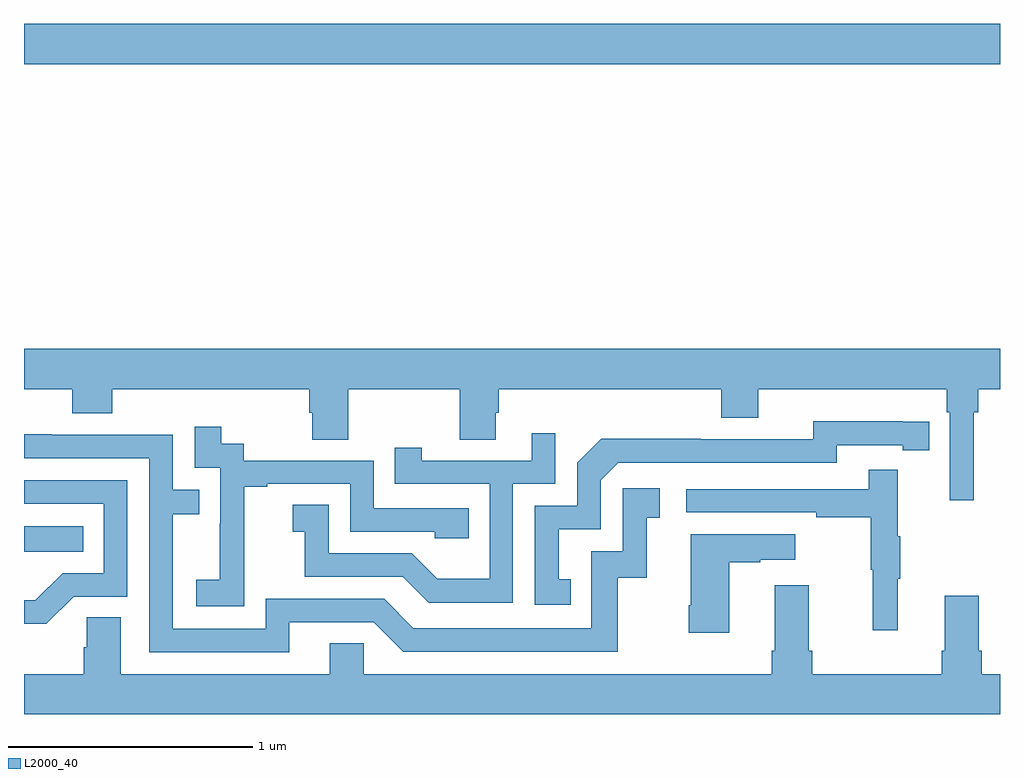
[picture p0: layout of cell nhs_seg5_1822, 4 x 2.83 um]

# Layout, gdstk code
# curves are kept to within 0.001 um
import gdstk
lib = gdstk.Library(unit=1e-6, precision=1e-09)
def R(c, l, rs):  # rectangles x0, y0, x1, y1
    for r in rs: c.add(gdstk.rectangle(r[:2], r[2:], *l))
def P(c, l, *ps):  # polygons
    for p in ps: c.add(gdstk.Polygon(p, *l))
L2000_40 = (2000, 40)

nhs_seg5_1822 = lib.new_cell('nhs_seg5_1822')
R(nhs_seg5_1822, L2000_40, [(219,892.058,219.242,892.162), (219,894.056,223,894.22)])
P(nhs_seg5_1822, L2000_40, [(222.892,892.628),(222.911,892.628),(222.911,892.724),(223,892.724),(223,892.888),(219,892.888),(219,892.724),(219.197,892.724),(219.197,892.625),(219.362,892.625),(219.362,892.724),(220.169,892.724),(220.169,892.626),(220.181,892.626),(220.181,892.516),(220.329,892.516),(220.329,892.724),(220.786,892.724),(220.786,892.516),(220.933,892.516),(220.933,892.626),(220.946,892.626),(220.946,892.724),(221.858,892.724),(221.858,892.607),(222.01,892.607),(222.01,892.724),(222.782,892.724),(222.782,892.628),(222.795,892.628),(222.795,892.269),(222.892,892.269)],
  [(221.24,891.945),(221.191,891.945),(221.191,892.149),(221.364,892.149),(221.364,892.35),(221.436,892.422),(222.33,892.422),(222.33,892.494),(222.602,892.494),(222.602,892.474),(222.71,892.474),(222.71,892.59),(222.234,892.591),(222.234,892.518),(221.774,892.518),(221.774,892.52),(221.366,892.52),(221.268,892.422),(221.268,892.245),(221.094,892.245),(221.094,891.84),(221.24,891.84)],
  [(219.903,892.039),(219.902,892.039),(219.902,892.323),(219.997,892.323),(219.997,892.335),(220.338,892.335),(220.338,892.14),(220.683,892.14),(220.683,892.113),(220.823,892.113),(220.823,892.236),(220.434,892.236),(220.434,892.431),(219.9,892.431),(219.9,892.5),(219.808,892.5),(219.808,892.57),(219.699,892.57),(219.699,892.401),(219.804,892.401),(219.804,892.172),(219.803,892.172),(219.803,891.943),(219.705,891.943),(219.705,891.833),(219.903,891.833)],
  [(221.004,892.335),(221.178,892.335),(221.178,892.543),(221.081,892.543),(221.081,892.431),(220.63,892.431),(220.63,892.483),(220.519,892.483),(220.519,892.335),(220.908,892.335),(220.908,891.946),(220.694,891.946),(220.59,892.05),(220.248,892.05),(220.248,892.249),(220.101,892.249),(220.101,892.139),(220.15,892.139),(220.15,891.954),(220.553,891.954),(220.658,891.849),(221.004,891.849)],
  [(220.087,891.768),(220.434,891.768),(220.554,891.648),(221.434,891.648),(221.434,891.951),(221.552,891.951),(221.552,892.197),(221.605,892.197),(221.605,892.318),(221.454,892.318),(221.454,892.059),(221.325,892.059),(221.325,891.744),(220.596,891.744),(220.476,891.864),(219.99,891.864),(219.99,891.741),(219.609,891.741),(219.609,892.21),(219.719,892.21),(219.719,892.311),(219.609,892.311),(219.609,892.536),(219.113,892.536),(219.113,892.538),(219,892.538),(219,892.44),(219.513,892.44),(219.513,891.645),(220.087,891.645)],
  [(222.581,891.947),(222.592,891.947),(222.592,892.121),(222.581,892.121),(222.581,892.393),(222.463,892.393),(222.463,892.314),(221.715,892.314),(221.715,892.218),(222.247,892.218),(222.247,892.198),(222.471,892.198),(222.471,891.984),(222.478,891.984),(222.478,891.735),(222.581,891.735)],
  [(219.204,891.873),(219.423,891.873),(219.423,892.35),(219,892.35),(219,892.254),(219.327,892.254),(219.327,891.969),(219.158,891.969),(219.047,891.858),(219,891.858),(219,891.761),(219.091,891.761)],
  [(221.89,892.015),(222.017,892.015),(222.017,892.025),(222.16,892.025),(222.16,892.129),(221.732,892.129),(221.732,891.838),(221.725,891.838),(221.725,891.726),(221.89,891.726)],
  [(223,891.556),(222.926,891.556),(222.926,891.652),(222.913,891.652),(222.913,891.877),(222.773,891.877),(222.773,891.652),(222.761,891.652),(222.761,891.556),(222.23,891.556),(222.23,891.652),(222.217,891.652),(222.217,891.919),(222.077,891.919),(222.077,891.652),(222.065,891.652),(222.065,891.556),(220.392,891.556),(220.392,891.683),(220.253,891.683),(220.253,891.556),(219.397,891.556),(219.397,891.788),(219.258,891.788),(219.258,891.665),(219.245,891.665),(219.245,891.556),(219,891.556),(219,891.392),(223,891.392)])

lib.write_gds('nhs_seg5_1822.gds')
